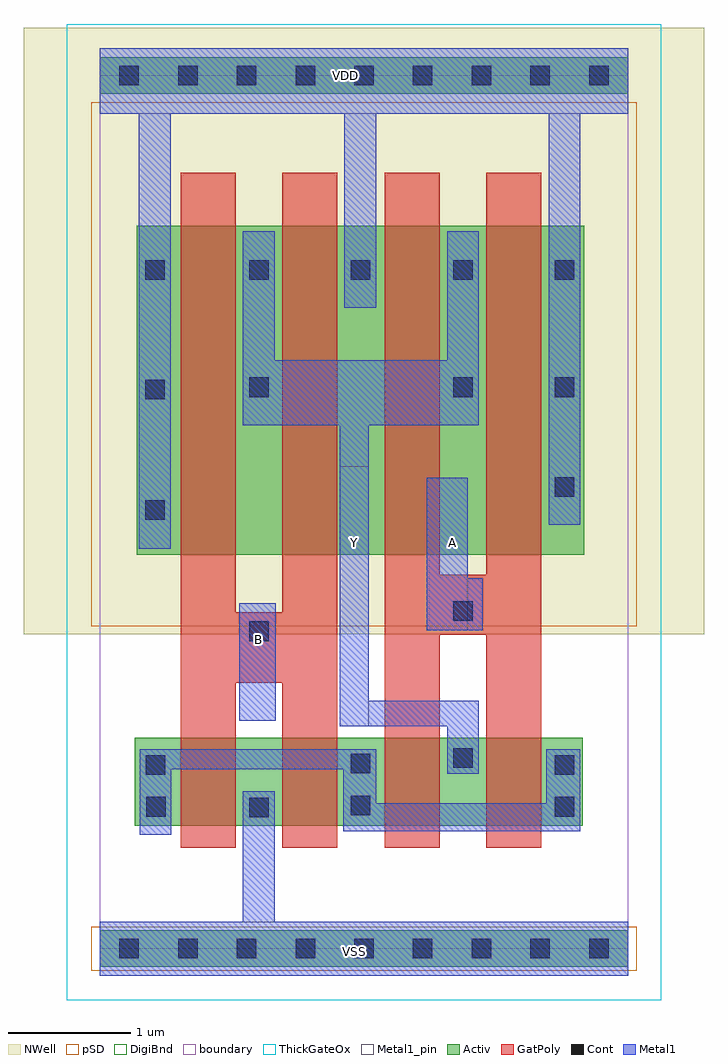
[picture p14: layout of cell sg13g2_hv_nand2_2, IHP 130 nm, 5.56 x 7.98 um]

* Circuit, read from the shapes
.subckt sg13g2_hv_nand2_2 A B VDD VSS Y
XM1 VSS B n1 VSS sg13_hv_nmos w=0.72u l=0.45u m=2
XM2 Y A n1 VSS sg13_hv_nmos w=0.72u l=0.45u m=2
XM3 Y B VDD VDD sg13_hv_pmos w=2.69u l=0.45u m=2
XM4 Y A VDD VDD sg13_hv_pmos w=2.69u l=0.45u m=2
.ends

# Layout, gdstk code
import gdstk
lib = gdstk.Library(unit=1e-6, precision=1e-09)
def R(c, l, rs):  # rectangles x0, y0, x1, y1
    for r in rs: c.add(gdstk.rectangle(r[:2], r[2:], *l))
def A(c, l, x, y, w, h, nx, ny, dx, dy):  # array of equal rectangles
    R(c, l, [(x+i*dx, y+j*dy, x+i*dx+w, y+j*dy+h) for i in range(nx) for j in range(ny)])
def P(c, l, *ps):  # polygons
    for p in ps: c.add(gdstk.Polygon(p, *l))
Activ = (1, 0)
GatPoly = (5, 0)
Cont = (6, 0)
Metal1 = (8, 0)
Metal1_pin = (8, 2)
pSD = (14, 0)
DigiBnd = (16, 0)
NWell = (31, 0)
ThickGateOx = (44, 0)
boundary = (189, 4)

sg13g2_hv_nand2_2 = lib.new_cell('sg13g2_hv_nand2_2')
R(sg13g2_hv_nand2_2, Activ, [(0,-0.15,4.32,0.15), (0.285,1.005,3.95,1.725), (0.3,3.22,3.96,5.91), (0,6.99,4.32,7.29)])
P(sg13g2_hv_nand2_2, GatPoly, [(0.66,0.825),(0.66,6.345),(1.11,6.345),(1.11,2.75),(1.49,2.75),(1.49,6.345),(1.94,6.345),(1.94,0.825),(1.49,0.825),(1.49,2.175),(1.11,2.175),(1.11,0.825)],
  [(2.33,0.825),(2.33,6.345),(2.78,6.345),(2.78,3.055),(3.16,3.055),(3.16,6.345),(3.61,6.345),(3.61,0.825),(3.16,0.825),(3.16,2.565),(2.78,2.565),(2.78,0.825)])
A(sg13g2_hv_nand2_2, Cont, 0.16, -0.08, 0.16, 0.16, 9, 2, 0.48, 7.14)
R(sg13g2_hv_nand2_2, Cont, [(1.22,1.075,1.38,1.235), (0.38,1.08,0.54,1.24), (3.72,1.08,3.88,1.24), (2.05,1.09,2.21,1.25), (0.375,1.42,0.535,1.58), (3.72,1.42,3.88,1.58), (2.05,1.435,2.21,1.595), (2.89,1.48,3.05,1.64), (1.22,2.515,1.38,2.675), (2.89,2.68,3.05,2.84), (0.37,3.505,0.53,3.665), (3.72,3.695,3.88,3.855), (0.37,4.49,0.53,4.65), (1.22,4.51,1.38,4.67), (2.89,4.51,3.05,4.67), (3.72,4.51,3.88,4.67), (0.37,5.47,0.53,5.63), (1.22,5.47,1.38,5.63), (2.05,5.47,2.21,5.63), (2.89,5.47,3.05,5.63), (3.72,5.47,3.88,5.63)])
R(sg13g2_hv_nand2_2, Metal1, [(1.14,1.865,1.42,2.825), (1.42,1.865,1.44,2.825)])
P(sg13g2_hv_nand2_2, Metal1, [(0.32,3.27),(0.32,6.825),(0,6.825),(0,7.36),(4.32,7.36),(4.32,6.825),(3.93,6.825),(3.93,3.465),(3.67,3.465),(3.67,6.825),(2.26,6.825),(2.26,5.24),(2,5.24),(2,6.825),(0.58,6.825),(0.58,3.27)],
  [(2.675,2.605),(2.675,3.85),(3.01,3.85),(3.01,3.03),(3.13,3.03),(3.13,2.605)],
  [(2.84,1.43),(2.84,1.82),(1.96,1.82),(1.96,4.28),(1.17,4.28),(1.17,5.865),(1.43,5.865),(1.43,4.81),(2.84,4.81),(2.84,5.865),(3.1,5.865),(3.1,4.28),(2.2,4.28),(2.2,2.025),(3.1,2.025),(3.1,1.43)],
  [(0.325,0.93),(0.325,1.63),(2.26,1.63),(2.26,1.19),(3.65,1.19),(3.65,1.63),(3.93,1.63),(3.93,0.96),(1.99,0.96),(1.99,1.465),(0.585,1.465),(0.585,0.93)],
  [(0,-0.22),(0,0.22),(1.17,0.22),(1.17,1.285),(1.43,1.285),(1.43,0.22),(4.32,0.22),(4.32,-0.22)])
R(sg13g2_hv_nand2_2, Metal1_pin, [(0,-0.22,4.32,0.22), (1.96,1.82,2.2,3.945), (1.14,1.865,1.42,2.825), (1.42,1.865,1.44,2.825), (2.675,2.605,3.01,3.85), (0,6.825,4.32,7.36)])
R(sg13g2_hv_nand2_2, pSD, [(-0.07,-0.18,4.39,0.18), (-0.07,2.635,4.39,6.92)])
R(sg13g2_hv_nand2_2, DigiBnd, [(0,0,4.32,7.14)])
R(sg13g2_hv_nand2_2, NWell, [(-0.62,2.57,4.94,7.53)])
R(sg13g2_hv_nand2_2, ThickGateOx, [(-0.27,-0.42,4.59,7.56)])
R(sg13g2_hv_nand2_2, boundary, [(0,0,4.32,7.14)])
sg13g2_hv_nand2_2.add(gdstk.Label('Y', (2.08,3.32), layer=8, texttype=25))
sg13g2_hv_nand2_2.add(gdstk.Label('VDD', (2.01,7.14), layer=8, texttype=25))
sg13g2_hv_nand2_2.add(gdstk.Label('A', (2.88,3.32), layer=8, texttype=25))
sg13g2_hv_nand2_2.add(gdstk.Label('VSS', (2.085,-0.02), layer=8, texttype=25))
sg13g2_hv_nand2_2.add(gdstk.Label('B', (1.3,2.53), layer=8, texttype=25))

lib.write_gds('sg13g2_hv_nand2_2.gds')
